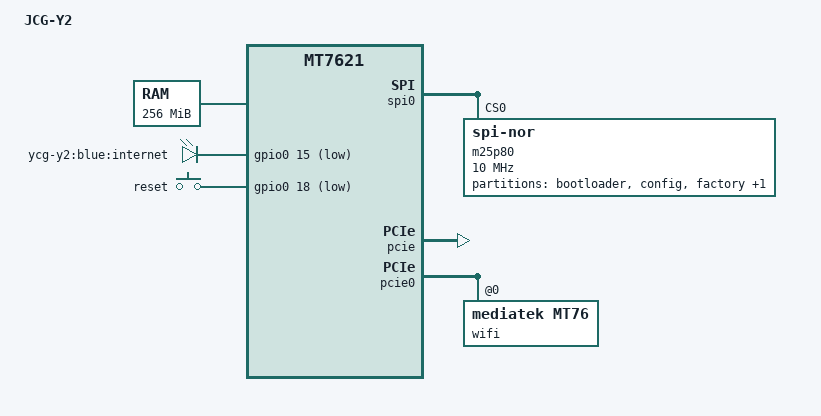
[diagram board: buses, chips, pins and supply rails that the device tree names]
/dts-v1/;

#include "mt7621.dtsi"

#include <dt-bindings/gpio/gpio.h>
#include <dt-bindings/input/input.h>

/ {
	compatible = "jcg-y2", "mediatek,mt7621-soc";
	model = "JCG-Y2";

	aliases {
		led-boot = &led_internet;
		led-failsafe = &led_internet;
		led-running = &led_internet;
		led-upgrade = &led_internet;
	};

	memory@0 {
		device_type = "memory";
		reg = <0x0 0x10000000>;
	};

	chosen {
		bootargs = "console=ttyS0,115200";
	};

	leds {
		compatible = "gpio-leds";

		led_internet: internet {
			label = "ycg-y2:blue:internet";
			gpios = <&gpio0 15 GPIO_ACTIVE_LOW>;
		};
	};

	keys {
		compatible = "gpio-keys-polled";
		poll-interval = <20>;

		reset {
			label = "reset";
			gpios = <&gpio0 18 GPIO_ACTIVE_LOW>;
			linux,code = <KEY_RESTART>;
		};
	};
};

&spi0 {
	status = "okay";

	m25p80@0 {
		compatible = "jedec,spi-nor";
		reg = <0>;
		spi-max-frequency = <10000000>;

		partitions {
			compatible = "fixed-partitions";
			#address-cells = <1>;
			#size-cells = <1>;

			partition@0 {
				label = "bootloader";
				reg = <0x0 0x30000>;
			};

			partition@30000 {
				label = "config";
				reg = <0x30000 0x10000>;
			};

			factory: partition@40000 {
				label = "factory";
				reg = <0x40000 0x10000>;
			};

			partition@50000 {
				compatible = "denx,uimage";
				label = "firmware";
				reg = <0x50000 0xfb0000>;
			};
		};
	};
};

&pcie {
	status = "okay";
};

&pcie0 {
	wifi@0,0 {
		compatible = "mediatek,mt76";
		reg = <0x0000 0 0 0 0>;
		mediatek,mtd-eeprom = <&factory 0x0>;
	};
};

&ethernet {
	mtd-mac-address = <&factory 0xe006>;
};

&pinctrl {
	state_default: pinctrl0 {
		gpio {
			ralink,group = "jtag", "wdt";
			ralink,function = "gpio";
		};
	};
};
